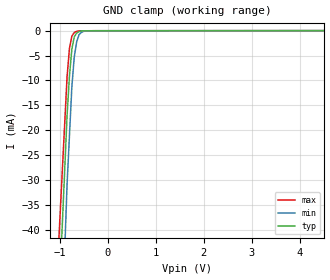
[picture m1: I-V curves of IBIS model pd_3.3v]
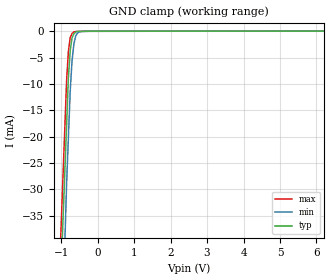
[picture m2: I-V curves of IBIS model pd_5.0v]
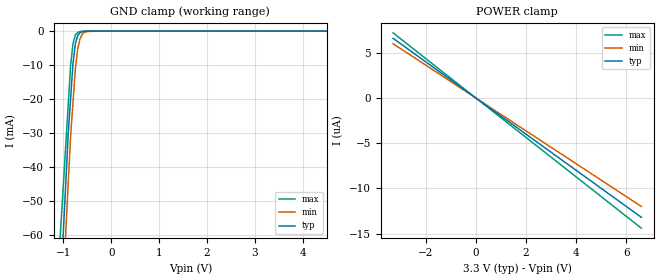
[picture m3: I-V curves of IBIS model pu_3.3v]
|   ADI IBIS Modeling
[IBIS Ver]  4.0
[File Name] ltc2876.ibs
[File Rev]  1.0
[Source]  Analog Devices Inc.
[Date]   09/18/2018
[Notes]   Derived from LTC2879x IBIS Model
[Disclaimer]
|   IBIS MODEL LICENSE AND DISCLAIMER AGREEMENT
|  Before downloading or using the below-referenced IBIS model, please read and
|  accept the license agreement and disclaimer shown below.
|   LICENSE STATEMENT
|  The information in this IBIS model is protected under the copyright laws of
|  the United States and other countries. Analog Devices, Inc. ("ADI") hereby
|  grants the users of this IBIS model (hereto referred to as licensee) a
|  nonexclusive, nontransferable license to use this IBIS model as long as the
|  licensee abides by the terms of this agreement.
|  Before using the IBIS model, the licensee should read this license. By using
|  , copying, modifying or redistributing this IBIS model,licensee accepts and
|  agrees to become bound by the terms of this agreement. If the licensee does
|  not accept these terms, then the licensee should not use the IBIS model and
|  should return it to ADI immediately.
|  The licensee may not sell, loan, rent, lease, distribute or license the IBIS
|  model,in whole, in part, or in modified form, to anyone outside the
|  licensee's company. The licensee may modify the IBIS model to suit his
|  specific applications, provided that all rights in such modifications and
|  derivative works shall belong to ADI. The licensee may make copies of this
|  IBIS model for use within his company only.
|  THIS IBIS MODEL IS PROVIDED AS IS, WHERE IS, AND WITH NO WARRANTY OF ANY
|  KIND EITHER EXPRESSED OR IMPLIED, INCLUDING BUT NOT LIMITED TO ANY IMPLIED
|  WARRANTIES OF MERCHANTABILITY AND FITNESS FOR A PARTICULAR PURPOSE.
|  Licensee understands that the mathematical behavioral characteristics and
|  formulas for the IBIS model have not been fully characterized for production
|  specification or exact compliance to actual part operation. The IBIS model
|  is useful for general simulations but not intended for safety critical,
|  manufacturing yield, or similar safety or financial decision making
|  simulations. IN NO EVENT SHALL THE ACCRUED TOTAL LIABILITY OF ANALOG DEVICES
|  , INC. FROM ANY LAWSUIT, CLAIM, WARRANTY OR INDEMNITY EXCEED One Hundred
|  Dollars ($100.00). In no event will ADI be liable for indirect, special,
|  collateral, incidental, consequential or punitive damages in connection with
|  or arising out of the use of this IBIS model. ADI reserves the right to
|  make changes to its products and the IBIS model without prior notice.
|  The Parties agree that the foregoing terms constitute the entire agreement
|  and that this agreement shall be governed by and construed in accordance
|  with the laws of the Commonwealth of Massachusetts and the United States,
|  without regard to choice of law provisions.
[Copyright]
|   This model is an exclusive property of Analog Devices Inc
|   and is not to be resold or redistributed without the written
|   permission of Analog Devices.
|   Copyright(c) 2018 Analog Devices, All Rights Reserved
[Component]   LTC2876
[Manufacturer] Analog Devices
[Package]
|  8 Lead Plastic MSOP
| variable   typ   min   max
R_pkg  1.000E-02  1.000E-02  1.000E-02
L_pkg  1.895E-09  1.700E-09  2.090E-09
C_pkg  6.955E-13  6.260E-13  7.650E-13
[Pin] signal_name  model_name  R_pin  L_pin C_pin
1   RO   rec_out   1.000E-02   1.700E-09   6.260E-13
2   *RE   in_pu   1.000E-02   2.090E-09   7.650E-13
3   DE   in_pd   1.000E-02   2.090E-09   7.650E-13
4   DI   in_pu   1.000E-02   1.700E-09   6.260E-13
5   GND   GND   1.000E-02   1.700E-09   6.260E-13
6   B   Rin_Dout   1.000E-02   2.090E-09   7.650E-13
7   A   Rin_Dout   1.000E-02   2.090E-09   7.650E-13
8   VCC   POWER   1.000E-02   1.700E-09   6.260E-13
9   EPAD   GND   0.000E+00   0.000E+00   0.000E+00
[Diff Pin] inv_pin vdiff tdelay_typ tdelay_min tdelay_max
7   6   200mV   0ns  0ns  0ns
|7   6   200mV   0ns  0ns  9ns  | This is spec from Data Sheet
[Model selector] in_pd
pd_3.3v   input,int 500Kohm pd,VCC=3.3v
pd_5.0v   input,int 500Kohm pd,VCC=5.0v
[Model selector] in_pu
pu_3.3v   input,int 500Kohm pu,VCC=3.3v
pu_5.0v   input,int 500Kohm pu,VCC=5.0v
[Model selector] rec_out
out_3.3v   rec out,int 250Kohm pu,VCC=3.3v,
out_5.0v   rec out,int 250Kohm pu,VCC=5.0v
|,
[Model selector] Rin_Dout
RS485_3.3v  rx_in,tx_out,VCC=3.3v
RS422_3.3v  rx_in,tx_out,VCC=3.3v
RS485_5.0v  rx_in,tx_out,VCC=5.0v
RS422_5.0v  rx_in,tx_out,VCC=5.0v
| Models and submodels in the file (10): pd_3.3v (Input), pd_5.0v (Input), pu_3.3v (Input), pu_5.0v (Input), out_3.3v (3-state), out_5.0v (3-state), RS422_3.3v (I/O), RS485_3.3v (I/O), RS422_5.0v (I/O), RS485_5.0v (I/O)
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[Model] pd_3.3v
Model_type Input
Vinl = 825.000mV
Vinh = 2.47500V
C_comp 599.000fF 570.000fF 628.000fF
[Model Spec]
Vinl   0.825V   0.750V   0.900V
Vinh   2.475V   2.250V   2.700V
| variable typ   min   max
[Voltage Range]   3.30000V 3.00000V 3.60000V
[POWER Clamp Reference] 3.30000V 3.00000V 3.60000V
[GND Clamp Reference]   0.00000V 0.00000V 0.00000V
[Temperature Range]   25   125   -40
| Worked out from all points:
|   GND clamp passes 1 mA (typ) near -0.68 V on its own axis
[GND Clamp]
-3.3V     -559.5mA   -697.1mA   -476.9mA
-850mV    -17.05mA   -30.88mA   -9.253mA
-800mV    -9.069mA   -21.06mA   -3.546mA
-750mV    -3.656mA   -11.23mA   -1.097mA
-700mV    -1.228mA   -5.288mA   -364.8uA
-650mV    -475.2uA   -2.228mA   -124.2uA
-600mV    -163.8uA   -808.9uA   -30.17uA
-550mV    -44.79uA   -309.9uA   -25.59uA
-500mV    -37.17uA   -114.4uA   -21.02uA
-250mV    -2.808uA   -8.342uA   -2.546uA
6.6V      22.3uA     26.82uA    20.47uA
|testing "pull requests"
[POWER Clamp]
-3.3V     0A         0A         0A
6.6V      0A         0A         0A
[Model] pd_5.0v
Model_type Input
Vinl = 1.25000V
Vinh = 3.75000V
C_comp 599.000fF 570.000fF 628.000fF
[Model Spec]
Vinl   1.250V   1.125V   1.375V
Vinh   3.750V   3.375V   4.125V
| variable typ   min   max
[Voltage Range]   5.00000V 4.50000V 5.50000V
[POWER Clamp Reference] 5.00000V 4.50000V 5.50000V
[GND Clamp Reference]   0.00000V 0.00000V 0.00000V
[Temperature Range]   25   125   -40
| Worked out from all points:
|   GND clamp passes 1 mA (typ) near -0.68 V on its own axis
[GND Clamp]
-5V       -776.2mA   -996.9mA   -772.9mA
-850mV    -17.88mA   -29.02mA   -9.442mA
-800mV    -8.744mA   -20.12mA   -3.737mA
-750mV    -3.609mA   -11.23mA   -1.175mA
-700mV    -1.234mA   -5.531mA   -393.1uA
-650mV    -480.4uA   -2.426mA   -136.7uA
-600mV    -166uA     -892.8uA   -33.8uA
-550mV    -46.09uA   -343.4uA   -28.53uA
-450mV    -30.6uA    -40.83uA   -17.98uA
10V       31.52uA    32.63uA    27.93uA
[POWER Clamp]
-5V       0A         0A         0A
10V       0A         0A         0A
[Model] pu_3.3v
Model_type Input
Vinl = 825.000mV
Vinh = 2.47500V
C_comp 628.000fF 604.000fF 652.000fF
[Model Spec]
Vinl   0.825V   0.750V   0.900V
Vinh   2.475V   2.250V   2.700V
| variable typ   min   max
[Voltage Range]   3.30000V 3.00000V 3.60000V
[POWER Clamp Reference] 3.30000V 3.00000V 3.60000V
[GND Clamp Reference]   0.00000V 0.00000V 0.00000V
[Temperature Range]   25   125   -40
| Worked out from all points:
|   GND clamp passes 1 mA (typ) near -0.68 V on its own axis
[GND Clamp]
-3.3V     -715.1mA   -718.7mA   -580.3mA
-900mV    -30.43mA   -45.11mA   -21.86mA
-850mV    -20.02mA   -31.08mA   -10.23mA
-800mV    -9.614mA   -21.08mA   -3.717mA
-750mV    -3.754mA   -11.08mA   -1.104mA
-700mV    -1.228mA   -5.148mA   -364.7uA
-650mV    -472.5uA   -2.143mA   -127.9uA
-600mV    -166.2uA   -773.6uA   -37.08uA
-500mV    -43.53uA   -112.1uA   -28.34uA
6.6V      0A         0A         0A
[POWER Clamp]
-3.3V     6.6uA      6uA        7.2uA
0V        0A         0A         0A
6.6V      -13.2uA    -12uA      -14.4uA
